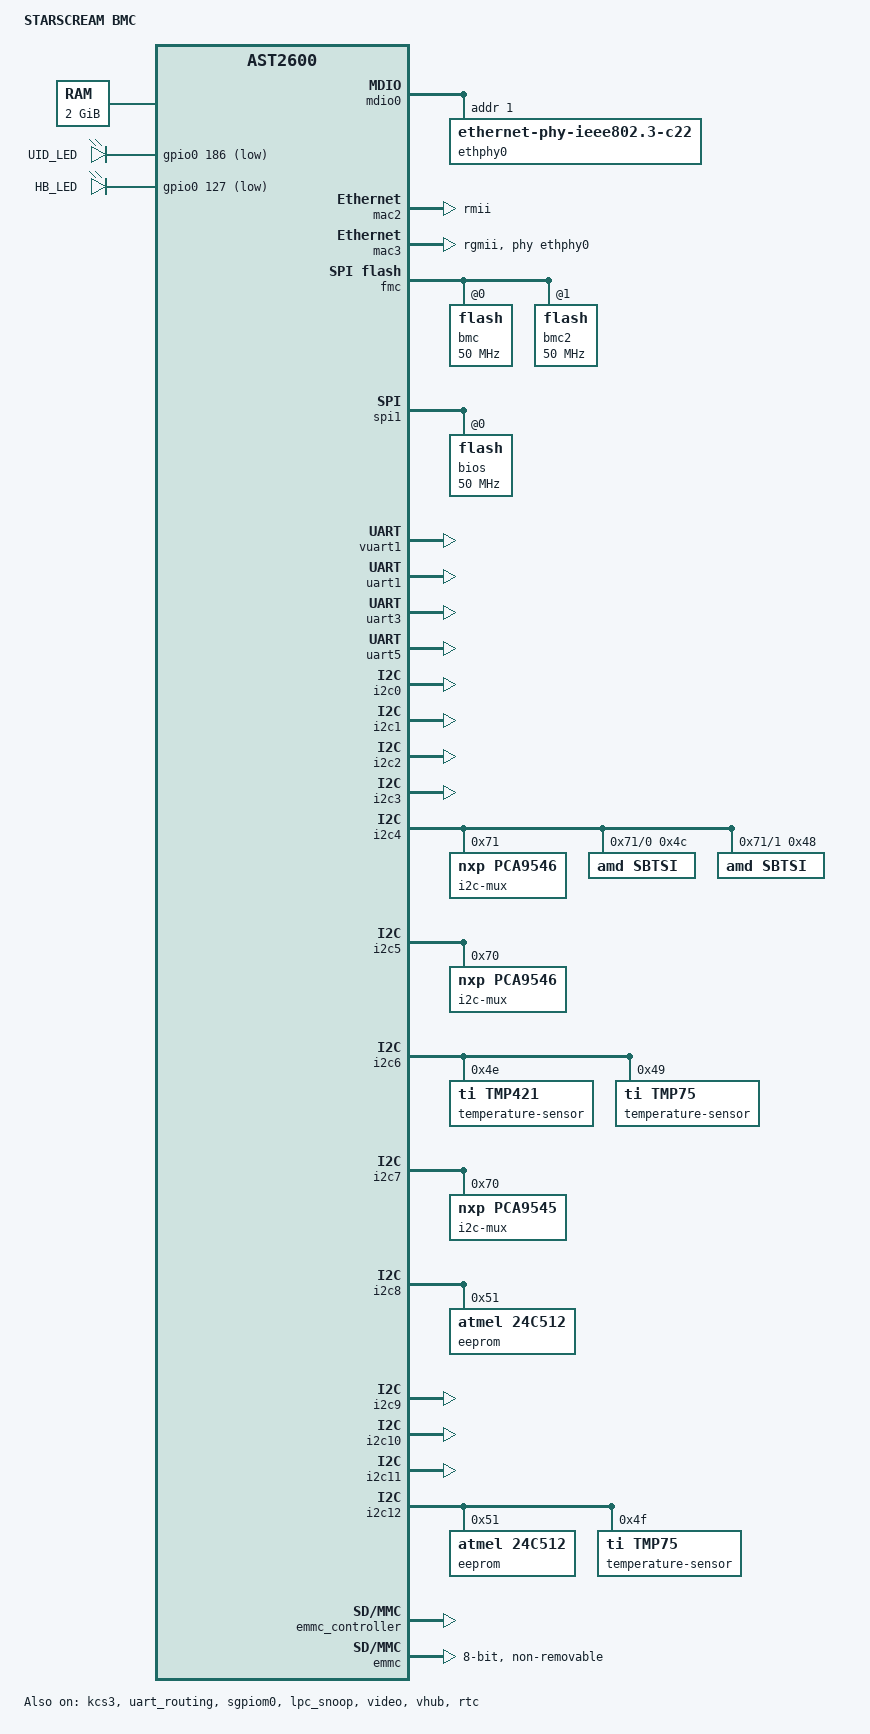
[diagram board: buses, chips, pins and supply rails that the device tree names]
// SPDX-License-Identifier: GPL-2.0-or-later
// Copyright 2023 Inventec Corp.

/dts-v1/;

#include "aspeed-g6.dtsi"
#include "aspeed-g6-pinctrl.dtsi"
#include <dt-bindings/i2c/i2c.h>
#include <dt-bindings/gpio/aspeed-gpio.h>

/ {
	model = "STARSCREAM BMC";
	compatible = "inventec,starscream-bmc", "aspeed,ast2600";

	aliases {
		serial4 = &uart5;
	};

	chosen {
		stdout-path = &uart5;
	};

	memory@80000000 {
		device_type = "memory";
		reg = <0x80000000 0x80000000>;
	};

	reserved-memory {
		#address-cells = <1>;
		#size-cells = <1>;
		ranges;

		video_engine_memory: video {
			size = <0x04000000>;
			alignment = <0x01000000>;
			compatible = "shared-dma-pool";
			reusable;
		};
	};

	leds {
		compatible = "gpio-leds";

		led-uid {
			label = "UID_LED";
			gpios = <&gpio0 186 GPIO_ACTIVE_LOW>;
		};

		led-heartbeat {
			label = "HB_LED";
			gpios = <&gpio0 127 GPIO_ACTIVE_LOW>;
		};
	};
};

&mdio0 {
	status = "okay";

	ethphy0: ethernet-phy@0 {
		compatible = "ethernet-phy-ieee802.3-c22";
		reg = <1>;
	};
};

&mac2 {
	status = "okay";
	pinctrl-names = "default";
	phy-mode = "rmii";
	pinctrl-0 = <&pinctrl_rmii3_default>;
	use-ncsi;
};

&mac3 {
	status = "okay";
	phy-mode = "rgmii";
	phy-handle = <&ethphy0>;
	pinctrl-names = "default";
	pinctrl-0 = <&pinctrl_rgmii4_default>;
};

&fmc {
	status = "okay";
	flash@0 {
		status = "okay";
		m25p,fast-read;
		label = "bmc";
		spi-max-frequency = <50000000>;
		spi-tx-bus-width = <4>;
		spi-rx-bus-width = <4>;
#include "openbmc-flash-layout.dtsi"
	};

	flash@1 {
		status = "okay";
		m25p,fast-read;
		label = "bmc2";
		spi-max-frequency = <50000000>;
		spi-tx-bus-width = <4>;
		spi-rx-bus-width = <4>;
	};
};

&spi1 {
	status = "okay";
	pinctrl-names = "default";
	pinctrl-0 = <&pinctrl_spi1_default>;

	flash@0 {
		status = "okay";
		m25p,fast-read;
		label = "bios";
		spi-max-frequency = <50000000>;
		spi-tx-bus-width = <4>;
		spi-rx-bus-width = <4>;
	};
};

&vuart1 {
	status = "okay";
};

&uart1 {
	status = "okay";
};

&uart3 {
	status = "okay";
};

&uart5 {
	status = "okay";
};

&kcs3 {
	aspeed,lpc-io-reg = <0xca2>;
	status = "okay";
};

&uart_routing {
	status = "okay";
};

&i2c0 {
	status = "okay";
};
&i2c1 {
	status = "okay";
};
&i2c2 {
	status = "okay";
};
&i2c3 {
	status = "okay";
};

&i2c4 {
	status = "okay";

	// I2C EXPANDER
	i2c-mux@71 {
		compatible = "nxp,pca9546";
		#address-cells = <1>;
		#size-cells = <0>;
		reg = <0x71>;

		i2c@0 {
			#address-cells = <1>;
			#size-cells = <0>;
			reg = <0>;
			// AMD SB-TSI CPU1
			sbtsi@4c {
				compatible = "amd,sbtsi";
				reg = <0x4c>;
			};
		};

		i2c@1 {
			#address-cells = <1>;
			#size-cells = <0>;
			reg = <1>;
			// AMD SB-TSI CPU2
			sbtsi@48 {
				compatible = "amd,sbtsi";
				reg = <0x48>;
			};
		};
	};
};

&i2c5 {
	status = "okay";

	// I2C EXPANDER U153
	i2c-mux@70 {
		compatible = "nxp,pca9546";
		#address-cells = <1>;
		#size-cells = <0>;
		reg = <0x70>;

		usb_hub: i2c@0 {
			#address-cells = <1>;
			#size-cells = <0>;
			reg = <0>;
		};

		riser1: i2c@1 {
			#address-cells = <1>;
			#size-cells = <0>;
			reg = <1>;
		};

		riser2: i2c@2 {
			#address-cells = <1>;
			#size-cells = <0>;
			reg = <2>;
		};

		i2c@3 {
			#address-cells = <1>;
			#size-cells = <0>;
			reg = <3>;
		};
	};
};

&i2c6 {
	status = "okay";

	// Motherboard Temp_U89
	temperature-sensor@4e {
		compatible = "ti,tmp421";
		reg = <0x4e>;
	};

	// RunBMC Temp_U6
	temperature-sensor@49 {
		compatible = "ti,tmp75";
		reg = <0x49>;
	};
};

&i2c7 {
	status = "okay";
	// I2C EXPANDER U40
	i2c-mux@70 {
		compatible = "nxp,pca9545";
		#address-cells = <1>;
		#size-cells = <0>;
		reg = <0x70>;

		i2c@0 {
			#address-cells = <1>;
			#size-cells = <0>;
			reg = <0>;
		};

		i2c@1 {
			#address-cells = <1>;
			#size-cells = <0>;
			reg = <1>;
		};

		i2c@2 {
			#address-cells = <1>;
			#size-cells = <0>;
			reg = <2>;
		};

		i2c@3 {
			#address-cells = <1>;
			#size-cells = <0>;
			reg = <3>;
		};
	};
};

&i2c8 {
	status = "okay";
	// FRU RunBMC
	eeprom@51 {
		compatible = "atmel,24c512";
		reg = <0x51>;
		pagesize = <128>;
	};
};

&i2c9 {
	status = "okay";
};

&i2c10 {
	status = "okay";
};

&i2c11 {
	status = "okay";
};

&i2c12 {
	status = "okay";
	// FRU SCM
	eeprom@51 {
		compatible = "atmel,24c512";
		reg = <0x51>;
		pagesize = <128>;
	};

	// SCM Temp_U17
	temperature-sensor@4f {
		compatible = "ti,tmp75";
		reg = <0x4f>;
	};
};

&gpio0 {
	status = "okay";
	gpio-line-names =
	/*A0-A7*/   "","","","","","","","",
	/*B0-B7*/   "alert-psu0-smb-r-n","bmc-ready","","assert-cpu0-prochot-r-n",
	"","","","",
	/*C0-C7*/   "","","","","","","","",
	/*D0-D7*/   "","","","","","","","",
	/*E0-E7*/   "","","","","","","","",
	/*F0-F7*/   "","","","","reset-sgpio-r-n","","","",
	/*G0-G7*/   "","","scm-jtag-mux-select","","","","","",
	/*H0-H7*/   "","","","","reset-out","power-out","","",
	/*I0-I7*/   "","","","","","","irq-bmc-cpu0-buf-nmi-n","",
	/*J0-J7*/   "","","","","","","","",
	/*K0-K7*/   "","","","","","","","",
	/*L0-L7*/   "","","","","","","","",
	/*M0-M7*/   "","","","","","","","",
	/*N0-N7*/   "","","ncsi-ocp-clk-en-n","","","","","",
	/*O0-O7*/   "","","","","","","cpu1-thermal-trip-n","",
	/*P0-P7*/   "","","","","","","","",
	/*Q0-Q7*/   "cpu0-prochot-n","","cpu1-prochot-n","","cpu0-pe-rst0","","","",
	/*R0-R7*/   "","","","","","","","",
	/*S0-S7*/   "","","","",
	"","PCH_SLP_S4_BMC_N","cpu0-thermtrip-n","alert-psu1-smb-r-n",
	/*T0-T7*/   "","","","","","","","",
	/*U0-U7*/   "","","","","","","","",
	/*V0-V7*/   "bios-recovery-buf-n","","assert-cpu1-prochot-r-n","",
	"power-chassis-good","","","",
	/*W0-W7*/   "","","","","","","","",
	/*X0-X7*/   "","","","","platform-type","","","",
	/*Y0-Y7*/   "","","","","","","","",
	/*Z0-Z7*/   "","cpld-power-break-n","","","","","","",
	/*AA0-AA7*/ "","","","","","","","",
	/*AB0-AB7*/ "","","","","","","","",
	/*AC0-AC7*/ "","","","","","","","";
};

&sgpiom0 {
	status = "okay";
	ngpios = <64>;
	bus-frequency = <1000000>;
};

&lpc_snoop {
	status = "okay";
	snoop-ports = <0x80>;
};

&emmc_controller {
	status = "okay";
};

&emmc {
	status = "okay";
	non-removable;
	max-frequency = <52000000>;
	bus-width = <8>;
};

&video {
	status = "okay";
	memory-region = <&video_engine_memory>;
};

&vhub {
	status = "okay";
	aspeed,vhub-downstream-ports = <7>;
	aspeed,vhub-generic-endpoints = <21>;
	pinctrl-names = "default";
	pinctrl-0 = <&pinctrl_usb2ad_default>;
};

&rtc {
	status = "okay";
};
